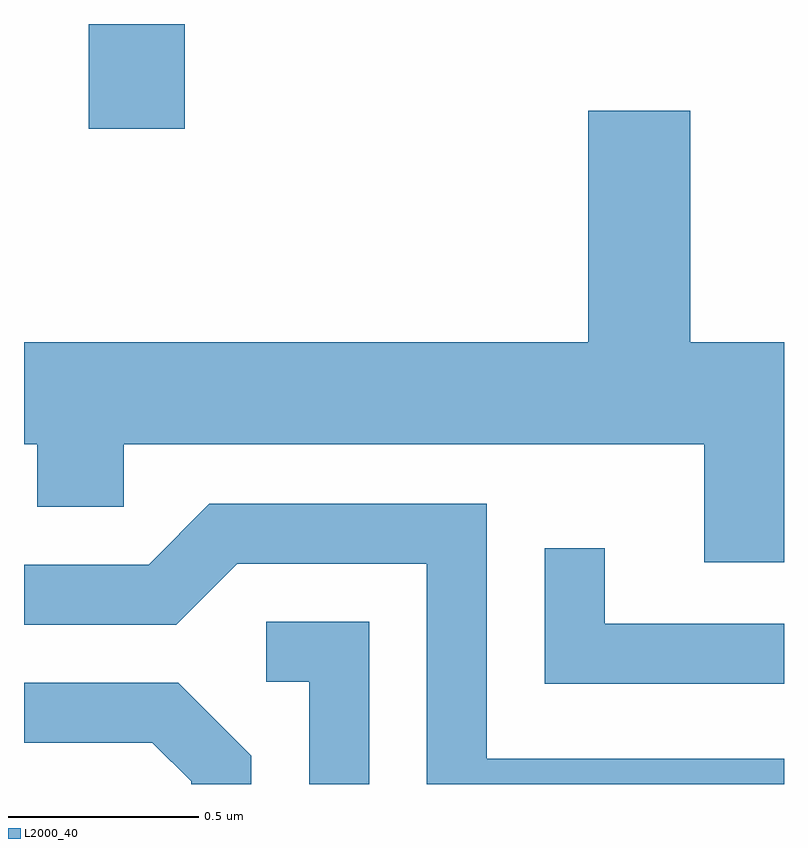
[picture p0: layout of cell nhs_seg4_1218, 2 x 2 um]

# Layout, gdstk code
import gdstk
lib = gdstk.Library(unit=1e-6, precision=1e-09)
def R(c, l, rs):  # rectangles x0, y0, x1, y1
    for r in rs: c.add(gdstk.rectangle(r[:2], r[2:], *l))
def P(c, l, *ps):  # polygons
    for p in ps: c.add(gdstk.Polygon(p, *l))
L2000_40 = (2000, 40)

nhs_seg4_1218 = lib.new_cell('nhs_seg4_1218')
R(nhs_seg4_1218, L2000_40, [(193.781,1377.706,194.034,1377.982)])
P(nhs_seg4_1218, L2000_40, [(195.611,1377.144),(195.364,1377.144),(195.364,1377.754),(195.096,1377.754),(195.096,1377.144),(193.611,1377.144),(193.611,1376.876),(193.646,1376.876),(193.646,1376.711),(193.874,1376.711),(193.874,1376.876),(195.401,1376.876),(195.401,1376.566),(195.611,1376.566)],
  [(195.611,1376.049),(194.829,1376.049),(194.829,1376.719),(194.099,1376.719),(193.939,1376.559),(193.611,1376.559),(193.611,1376.401),(194.012,1376.401),(194.172,1376.561),(194.671,1376.561),(194.671,1375.982),(195.611,1375.982)],
  [(195.611,1376.404),(195.139,1376.404),(195.139,1376.603),(194.981,1376.603),(194.981,1376.246),(195.611,1376.246)],
  [(194.519,1376.409),(194.248,1376.409),(194.248,1376.251),(194.361,1376.251),(194.361,1375.982),(194.519,1375.982)],
  [(194.209,1376.057),(194.017,1376.249),(193.611,1376.249),(193.611,1376.091),(193.949,1376.091),(194.051,1375.989),(194.051,1375.982),(194.209,1375.982)])

lib.write_gds('nhs_seg4_1218.gds')
